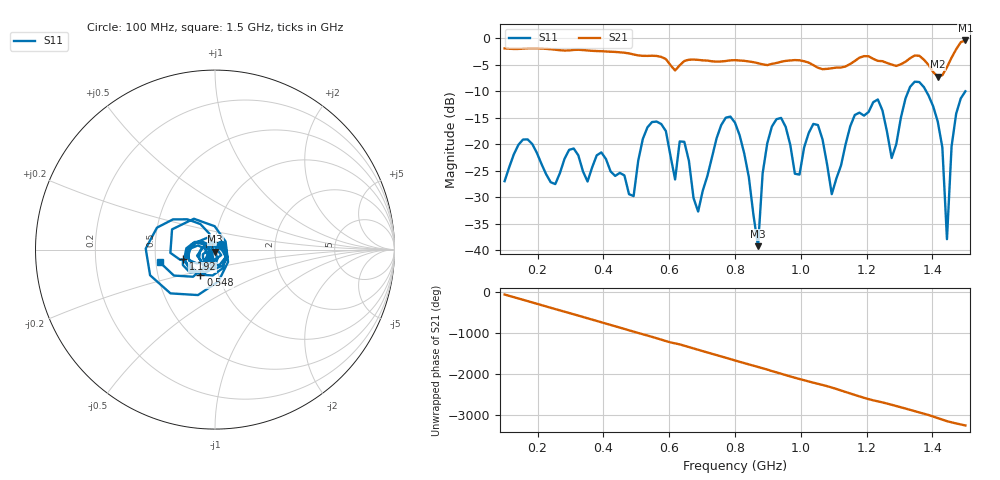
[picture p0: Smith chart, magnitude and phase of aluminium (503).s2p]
! NanoVNA-App
! Date: 2025-09-25 14:59:12
! Start: 100MHz Stop: 1,5GHz Points: 101
! S-Parameter data: F S11 S21 S12 S22
# Hz S RI R 50
!  Frequency  S11_Real  S11_Imag  S21_Real  S21_Imag  S12_Real  S12_Imag  S22_Real  S22_Imag
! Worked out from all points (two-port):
!   101 points, 100 MHz to 1.5 GHz, reference 50 ohm
!   highest |S21| = -0.43 dB at 1.5 GHz (marker M1); lowest = -7.3 dB at 1.416 GHz (marker M2)
!   |S21| within 3 dB of the highest: start of sweep to 568 MHz; 1.46 GHz to end of sweep (the widest 2 of 4)
!   lowest |S11| = -39.2 dB at 870 MHz (marker M3), VSWR 1.02, Z = 50.2 - j1.09 ohm
!   |S11| at or under -10 dB: start of sweep to 1.327 GHz; 1.381 GHz to end of sweep
!   S12 and S22 are empty: the file has one direction only
!   S11 on the Smith chart (normalised r, x): 100 MHz: 1.07, +0.06; 548 MHz: 0.82, -0.24; 1.192 GHz: 0.69, -0.08; 1.5 GHz: 0.52, -0.08
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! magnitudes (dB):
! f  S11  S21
! 100 MHz  -27.0  -1.9
! 156 MHz  -19.1  -2.0
! 338 MHz  -25.1  -2.2
! 492 MHz  -29.8  -3.1
! 548 MHz  -15.8  -3.3
! 576 MHz  -16.2  -3.5
! 646 MHz  -19.5  -4.3
! 688 MHz  -32.7  -4.1
! 800 MHz  -15.9  -4.1
! 870 MHz  -39.2  -4.7
! 912 MHz  -16.7  -4.8
! 996 MHz  -25.7  -4.2
! 1.038 GHz  -16.2  -5.1
! 1.094 GHz  -29.4  -5.7
! 1.192 GHz  -14.6  -3.4
! 1.234 GHz  -11.6  -4.3
! 1.276 GHz  -22.6  -5.0
! 1.346 GHz  -8.2  -3.3
! 1.416 GHz  -15.7  -7.3
! 1.444 GHz  -37.9  -5.5
! 1.458 GHz  -20.4  -3.7
! 1.5 GHz  -10.0  -0.4
